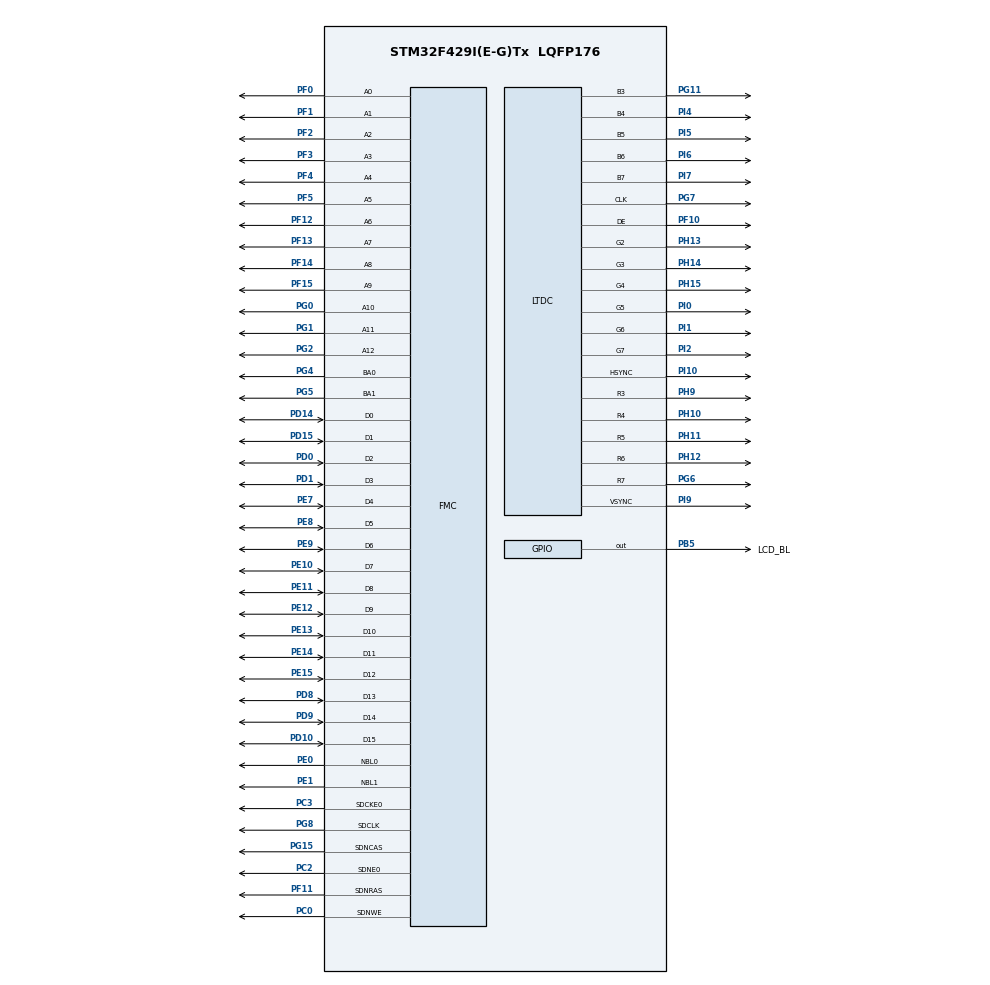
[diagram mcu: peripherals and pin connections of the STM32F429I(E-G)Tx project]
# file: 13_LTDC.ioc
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DMA2D.AlphaModeForeground=DMA2D_NO_MODIF_ALPHA
DMA2D.ColorMode=DMA2D_OUTPUT_RGB565
DMA2D.InputAlphaForeground=0
DMA2D.Mode=DMA2D_M2M
DMA2D.OutputOffset=0
FMC.CASLatency1=FMC_SDRAM_CAS_LATENCY_3
FMC.ColumnBitsNumber1=FMC_SDRAM_COLUMN_BITS_NUM_9
FMC.ExitSelfRefreshDelay1=8
FMC.LoadToActiveDelay1=2
FMC.RCDDelay1=2
FMC.RPDelay1=2
FMC.ReadBurst1=FMC_SDRAM_RBURST_ENABLE
FMC.ReadPipeDelay1=FMC_SDRAM_RPIPE_DELAY_1
FMC.RowCycleDelay1=6
FMC.SDClockPeriod1=FMC_SDRAM_CLOCK_PERIOD_2
FMC.SelfRefreshTime1=6
FMC.WriteProtection1=FMC_SDRAM_WRITE_PROTECTION_DISABLE
FMC.WriteRecoveryTime1=4
LTDC.ActiveH=600
LTDC.ActiveW=1024
LTDC.Alpha_L0=255
LTDC.FBStartAdress_L0=0xc0000000
LTDC.FBStartAdress_L1=0xc4000000
LTDC.HBP=140
LTDC.HFP=160
LTDC.HSync=20
LTDC.ImageHeight_L0=240
LTDC.ImageHeight_L1=240
LTDC.ImageWidth_L0=320
LTDC.ImageWidth_L1=320
LTDC.Layers=1
LTDC.PixelFormat_L0=LTDC_PIXEL_FORMAT_RGB565
LTDC.PixelFormat_L1=LTDC_PIXEL_FORMAT_RGB565
LTDC.VBP=20
LTDC.VFP=12
LTDC.VSync=3
LTDC.WindowX0_L1=703
LTDC.WindowX1_L0=320
LTDC.WindowX1_L1=1023
LTDC.WindowY0_L1=359
LTDC.WindowY1_L0=240
LTDC.WindowY1_L1=599
Mcu.Family=STM32F4
Mcu.Name=STM32F429I(E-G)Tx
Mcu.Package=LQFP176
NVIC.DMA2D_IRQn=true\:0\:0\:false\:false\:true\:true\:true
NVIC.PriorityGroup=NVIC_PRIORITYGROUP_4
PA13.Mode=Trace_Asynchronous_SW
PA13.Signal=SYS_JTMS-SWDIO
PA14.Mode=Trace_Asynchronous_SW
PA14.Signal=SYS_JTCK-SWCLK
PB3.Mode=Trace_Asynchronous_SW
PB3.Signal=SYS_JTDO-SWO
PB5.GPIO_Label=LCD_BL
PB5.Signal=GPIO_Output
PC0.GPIO_PuPd=GPIO_PULLUP
PC0.Signal=FMC_SDNWE
PC14/OSC32_IN.Mode=LSE-External-Oscillator
PC14/OSC32_IN.Signal=RCC_OSC32_IN
PC15/OSC32_OUT.Mode=LSE-External-Oscillator
PC15/OSC32_OUT.Signal=RCC_OSC32_OUT
PC2.GPIO_PuPd=GPIO_PULLUP
PC2.Mode=SdramChipSelect1_1
PC2.Signal=FMC_SDNE0
PC3.GPIO_PuPd=GPIO_PULLUP
PC3.Mode=SdramChipSelect1_1
PC3.Signal=FMC_SDCKE0
PD0.GPIO_PuPd=GPIO_PULLUP
PD0.Signal=FMC_D2_DA2
PD1.GPIO_PuPd=GPIO_PULLUP
PD1.Signal=FMC_D3_DA3
PD10.GPIO_PuPd=GPIO_PULLUP
PD10.Signal=FMC_D15_DA15
PD14.GPIO_PuPd=GPIO_PULLUP
PD14.Signal=FMC_D0_DA0
PD15.GPIO_PuPd=GPIO_PULLUP
PD15.Signal=FMC_D1_DA1
PD8.GPIO_PuPd=GPIO_PULLUP
PD8.Signal=FMC_D13_DA13
PD9.GPIO_PuPd=GPIO_PULLUP
PD9.Signal=FMC_D14_DA14
PE0.GPIO_PuPd=GPIO_PULLUP
PE0.Signal=FMC_NBL0
PE1.GPIO_PuPd=GPIO_PULLUP
PE1.Signal=FMC_NBL1
PE10.GPIO_PuPd=GPIO_PULLUP
PE10.Signal=FMC_D7_DA7
PE11.GPIO_PuPd=GPIO_PULLUP
PE11.Signal=FMC_D8_DA8
PE12.GPIO_PuPd=GPIO_PULLUP
PE12.Signal=FMC_D9_DA9
PE13.GPIO_PuPd=GPIO_PULLUP
PE13.Signal=FMC_D10_DA10
PE14.GPIO_PuPd=GPIO_PULLUP
PE14.Signal=FMC_D11_DA11
PE15.GPIO_PuPd=GPIO_PULLUP
PE15.Signal=FMC_D12_DA12
PE7.GPIO_PuPd=GPIO_PULLUP
PE7.Signal=FMC_D4_DA4
PE8.GPIO_PuPd=GPIO_PULLUP
PE8.Signal=FMC_D5_DA5
PE9.GPIO_PuPd=GPIO_PULLUP
PE9.Signal=FMC_D6_DA6
PF0.GPIO_PuPd=GPIO_PULLUP
PF0.Signal=FMC_A0
PF1.GPIO_PuPd=GPIO_PULLUP
PF1.Signal=FMC_A1
PF10.GPIO_Speed=GPIO_SPEED_FREQ_VERY_HIGH
PF10.Mode=RGB565
PF10.Signal=LTDC_DE
PF11.GPIO_PuPd=GPIO_PULLUP
PF11.Signal=FMC_SDNRAS
PF12.GPIO_PuPd=GPIO_PULLUP
PF12.Signal=FMC_A6
PF13.GPIO_PuPd=GPIO_PULLUP
PF13.Signal=FMC_A7
PF14.GPIO_PuPd=GPIO_PULLUP
PF14.Signal=FMC_A8
PF15.GPIO_PuPd=GPIO_PULLUP
PF15.Signal=FMC_A9
PF2.GPIO_PuPd=GPIO_PULLUP
PF2.Signal=FMC_A2
PF3.GPIO_PuPd=GPIO_PULLUP
PF3.Signal=FMC_A3
PF4.GPIO_PuPd=GPIO_PULLUP
PF4.Signal=FMC_A4
PF5.GPIO_PuPd=GPIO_PULLUP
PF5.Signal=FMC_A5
PG0.GPIO_PuPd=GPIO_PULLUP
PG0.Signal=FMC_A10
PG1.GPIO_PuPd=GPIO_PULLUP
PG1.Signal=FMC_A11
PG11.GPIO_Speed=GPIO_SPEED_FREQ_VERY_HIGH
PG11.Mode=RGB565
PG11.Signal=LTDC_B3
PG15.GPIO_PuPd=GPIO_PULLUP
PG15.Signal=FMC_SDNCAS
PG2.GPIO_PuPd=GPIO_PULLUP
PG2.Signal=FMC_A12
PG4.GPIO_PuPd=GPIO_PULLUP
PG4.Signal=FMC_A14_BA0
PG5.GPIO_PuPd=GPIO_PULLUP
PG5.Signal=FMC_A15_BA1
PG6.GPIO_Speed=GPIO_SPEED_FREQ_VERY_HIGH
PG6.Mode=RGB565
PG6.Signal=LTDC_R7
PG7.GPIO_Speed=GPIO_SPEED_FREQ_VERY_HIGH
PG7.Mode=RGB565
PG7.Signal=LTDC_CLK
PG8.GPIO_PuPd=GPIO_PULLUP
PG8.Signal=FMC_SDCLK
PH0/OSC_IN.Mode=HSE-External-Oscillator
PH0/OSC_IN.Signal=RCC_OSC_IN
PH1/OSC_OUT.Mode=HSE-External-Oscillator
PH1/OSC_OUT.Signal=RCC_OSC_OUT
PH10.GPIO_Speed=GPIO_SPEED_FREQ_VERY_HIGH
PH10.Mode=RGB565
PH10.Signal=LTDC_R4
PH11.GPIO_Speed=GPIO_SPEED_FREQ_VERY_HIGH
PH11.Mode=RGB565
PH11.Signal=LTDC_R5
PH12.GPIO_Speed=GPIO_SPEED_FREQ_VERY_HIGH
PH12.Mode=RGB565
PH12.Signal=LTDC_R6
PH13.GPIO_Speed=GPIO_SPEED_FREQ_VERY_HIGH
PH13.Mode=RGB565
PH13.Signal=LTDC_G2
PH14.GPIO_Speed=GPIO_SPEED_FREQ_VERY_HIGH
PH14.Mode=RGB565
PH14.Signal=LTDC_G3
PH15.GPIO_Speed=GPIO_SPEED_FREQ_VERY_HIGH
PH15.Mode=RGB565
PH15.Signal=LTDC_G4
PH9.GPIO_Speed=GPIO_SPEED_FREQ_VERY_HIGH
PH9.Mode=RGB565
PH9.Signal=LTDC_R3
PI0.GPIO_Speed=GPIO_SPEED_FREQ_VERY_HIGH
PI0.Mode=RGB565
PI0.Signal=LTDC_G5
PI1.GPIO_Speed=GPIO_SPEED_FREQ_VERY_HIGH
PI1.Mode=RGB565
PI1.Signal=LTDC_G6
PI10.GPIO_Speed=GPIO_SPEED_FREQ_VERY_HIGH
PI10.Mode=RGB565
PI10.Signal=LTDC_HSYNC
PI2.GPIO_Speed=GPIO_SPEED_FREQ_VERY_HIGH
PI2.Mode=RGB565
PI2.Signal=LTDC_G7
PI4.GPIO_Speed=GPIO_SPEED_FREQ_VERY_HIGH
PI4.Mode=RGB565
PI4.Signal=LTDC_B4
PI5.GPIO_Speed=GPIO_SPEED_FREQ_VERY_HIGH
PI5.Mode=RGB565
PI5.Signal=LTDC_B5
PI6.GPIO_Speed=GPIO_SPEED_FREQ_VERY_HIGH
PI6.Mode=RGB565
PI6.Signal=LTDC_B6
PI7.GPIO_Speed=GPIO_SPEED_FREQ_VERY_HIGH
PI7.Mode=RGB565
PI7.Signal=LTDC_B7
PI9.GPIO_Speed=GPIO_SPEED_FREQ_VERY_HIGH
PI9.Mode=RGB565
PI9.Signal=LTDC_VSYNC
ProjectManager.HeapSize=0x200
ProjectManager.StackSize=0x400
ProjectManager.TargetToolchain=STM32CubeIDE
RCC.48MHZClocksFreq_Value=90000000
RCC.AHBFreq_Value=180000000
RCC.APB1CLKDivider=RCC_HCLK_DIV4
RCC.APB1Freq_Value=45000000
RCC.APB1TimFreq_Value=90000000
RCC.APB2CLKDivider=RCC_HCLK_DIV2
RCC.APB2Freq_Value=90000000
RCC.APB2TimFreq_Value=180000000
RCC.CortexFreq_Value=180000000
RCC.HCLKFreq_Value=180000000
RCC.HSE_VALUE=25000000
RCC.HSI_VALUE=16000000
RCC.PLLM=15
RCC.PLLN=216
RCC.PLLSAIN=198
RCC.PLLSAIR=5
RCC.PLLSourceVirtual=RCC_PLLSOURCE_HSE
RCC.SYSCLKFreq_VALUE=180000000
RCC.SYSCLKSource=RCC_SYSCLKSOURCE_PLLCLK
RCC.VCOOutputFreq_Value=360000000
SH.FMC_A0.0=FMC_A0,13b-sda1
SH.FMC_A1.0=FMC_A1,13b-sda1
SH.FMC_A10.0=FMC_A10,13b-sda1
SH.FMC_A11.0=FMC_A11,13b-sda1
SH.FMC_A12.0=FMC_A12,13b-sda1
SH.FMC_A14_BA0.0=FMC_BA0,FourSdramBanks1
SH.FMC_A15_BA1.0=FMC_BA1,FourSdramBanks1
SH.FMC_A2.0=FMC_A2,13b-sda1
SH.FMC_A3.0=FMC_A3,13b-sda1
SH.FMC_A4.0=FMC_A4,13b-sda1
SH.FMC_A5.0=FMC_A5,13b-sda1
SH.FMC_A6.0=FMC_A6,13b-sda1
SH.FMC_A7.0=FMC_A7,13b-sda1
SH.FMC_A8.0=FMC_A8,13b-sda1
SH.FMC_A9.0=FMC_A9,13b-sda1
SH.FMC_D0_DA0.0=FMC_D0,sd-16b-d1
SH.FMC_D10_DA10.0=FMC_D10,sd-16b-d1
SH.FMC_D11_DA11.0=FMC_D11,sd-16b-d1
SH.FMC_D12_DA12.0=FMC_D12,sd-16b-d1
SH.FMC_D13_DA13.0=FMC_D13,sd-16b-d1
SH.FMC_D14_DA14.0=FMC_D14,sd-16b-d1
SH.FMC_D15_DA15.0=FMC_D15,sd-16b-d1
SH.FMC_D1_DA1.0=FMC_D1,sd-16b-d1
SH.FMC_D2_DA2.0=FMC_D2,sd-16b-d1
SH.FMC_D3_DA3.0=FMC_D3,sd-16b-d1
SH.FMC_D4_DA4.0=FMC_D4,sd-16b-d1
SH.FMC_D5_DA5.0=FMC_D5,sd-16b-d1
SH.FMC_D6_DA6.0=FMC_D6,sd-16b-d1
SH.FMC_D7_DA7.0=FMC_D7,sd-16b-d1
SH.FMC_D8_DA8.0=FMC_D8,sd-16b-d1
SH.FMC_D9_DA9.0=FMC_D9,sd-16b-d1
SH.FMC_NBL0.0=FMC_NBL0,Sd2ByteEnable1
SH.FMC_NBL1.0=FMC_NBL1,Sd2ByteEnable1
SH.FMC_SDCLK.0=FMC_SDCLK,13b-sda1
SH.FMC_SDNCAS.0=FMC_SDNCAS,13b-sda1
SH.FMC_SDNRAS.0=FMC_SDNRAS,13b-sda1
SH.FMC_SDNWE.0=FMC_SDNWE,13b-sda1
VP_DMA2D_VS_DMA2D.Mode=DMA2D_Activate
board=custom

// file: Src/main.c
/* USER CODE BEGIN Header */
/**
 ******************************************************************************
 * @file           : main.c
 * @brief          : Main program body
 ******************************************************************************
 * @attention
 *
 * <h2><center>&copy; Copyright (c) 2019 STMicroelectronics.
 * All rights reserved.</center></h2>
 *
 * This software component is licensed by ST under BSD 3-Clause license,
 * the "License"; You may not use this file except in compliance with the
 * License. You may obtain a copy of the License at:
 *                        opensource.org/licenses/BSD-3-Clause
 *
 ******************************************************************************
 */
/* USER CODE END Header */

#include "main.h"
#include "dma2d.h"
#include "ltdc.h"
#include "gpio.h"
#include "fmc.h"

/* USER CODE BEGIN Includes */
#include <stdio.h>
//#include "RGB565_240x130_1.h"
#include "L8_320X240.h"
#include "RGB565_320x240.h"
/* USER CODE END Includes */

/* USER CODE BEGIN PD */

#define SDRAM_BANK_ADDR     ((uint32_t)0XC0000000)

/* USER CODE END PD */

/* USER CODE BEGIN PV */
extern LTDC_HandleTypeDef hltdc;

uint8_t complate = 0;
//uint32_t aMemory[262144] __attribute__((section(".ExtRAMData")));
//uint32_t aMemory0[1200 * 800] __attribute__((section(".ExtRAMData"))); // 1024 * 1024 /4    //1MB / 4
//uint32_t aMemory1[1200 * 800] __attribute__((section(".ExtRAMData"))); // 1024 * 1024 /4    //1MB / 4

uint32_t aBlendedImage[(LAYER_SIZE_X * LAYER_SIZE_Y * LAYER_BYTE_PER_PIXEL) / 4];

volatile uint8_t ReloadFlag = 0;

//uint32_t aMemory1[262144] __attribute__((section(".ExtRAMData1"))); // 1024 * 1024 /4    //1MB / 4

/*
 #if (defined ( __CC_ARM ))
 U32 aMemory[GUI_NUMBYTES / 4] __attribute__((at(MEM_BASE)));
 #elif (defined (__ICCARM__))
 #pragma location = MEM_BASE
 __no_init U32 aMemory[GUI_NUMBYTES / 4];
 #elif defined ( __GNUC__ )
 U32 aMemory[GUI_NUMBYTES / 4] __attribute__((section(".ExtRAMData1")));
 #endif

 __CC_ARM 	-->  U32 aMemory[GUI_NUMBYTES / 4] __attribute__((at(MEM_BASE)));
 __ICCARM__ 	-->  _no_init U32 aMemory[GUI_NUMBYTES / 4];
 __GNUC__ 	-->  aMemory[GUI_NUMBYTES / 4] __attribute__((section(".ExtRAMData1")));

 */

/* USER CODE END PV */

void SystemClock_Config (void);

int main (void)
{

    /* MCU Configuration--------------------------------------------------------*/

    /* Reset of all peripherals, Initializes the Flash interface and the Systick. */
    HAL_Init ();

    /* Configure the system clock */
    SystemClock_Config ();

    /* Initialize all configured peripherals */
    MX_GPIO_Init ();
    MX_FMC_Init ();
    MX_LTDC_Init ();
    MX_DMA2D_Init ();
    /* USER CODE BEGIN 2 */
    SDRAM_Init ();
    //LCD_Init ();

    //u32 addr = &aMemory0[0];
    u32 timeout = 0;
    uint16_t index = 0;
    /*##-2- CLUT Configuration #################################################*/
    HAL_LTDC_ConfigCLUT (&hltdc, (uint32_t*) L8_320x240_CLUT, 256, 0);

    /*##-3- Enable CLUT For Layer 1 ############################################*/
    HAL_LTDC_EnableCLUT (&hltdc, 0);

    /*##-4- Configure line event ###############################################*/
    HAL_LTDC_ProgramLineEvent (&hltdc, 0);
    while (1)
    {
	for (index = 0; index < 350; index++)
	{
	    HAL_LTDC_SetWindowPosition_NoReload (&hltdc, index * 2, index, 0);
	    HAL_LTDC_SetWindowPosition_NoReload (&hltdc, 700 - index * 2, 350 - index, 1);

	    HAL_LTDC_Reload (&hltdc, LTDC_RELOAD_VERTICAL_BLANKING);

	    HAL_Delay(2);
	}
	HAL_Delay (500);
	for (index = 0; index < 350; index++)
	{
	    HAL_LTDC_SetWindowPosition_NoReload (&hltdc, index * 2, index, 1);
	    HAL_LTDC_SetWindowPosition_NoReload (&hltdc, 700 - index * 2, 350 - index, 0);

	    HAL_LTDC_Reload (&hltdc, LTDC_RELOAD_VERTICAL_BLANKING);
	    HAL_Delay(2);
	}
	HAL_Delay (500);
    }

    //HAL_DMA2D_Start (&hdma2d, (uint32_t) &RGB565_240x130_1, (uint32_t) &aMemory0, 240, 130);
    while (1);

//  __HAL_RCC_DMA2D_CLK_ENABLE();	//使能DM2D时钟
//  DMA2D->CR &= ~(DMA2D_CR_START);	//先停止DMA2D
//  DMA2D->CR = DMA2D_R2M;			//寄存器到存储器模�?????????
//  DMA2D->OPFCCR = 0X02;	//设置颜色格式
//  DMA2D->OOR = 2;				//设置行偏�?????????
//
//  DMA2D->OMAR = addr;				//输出存储器地�?????????
//  DMA2D->NLR = (1023 + 1) | ((599 + 1) << 16);	//设定行数寄存�?????????
//  DMA2D->OCOLR = BLUE;						//设定输出颜色寄存�?????????
//  DMA2D->CR |= DMA2D_CR_START;				//启动DMA2D
//  while ((DMA2D->ISR & (DMA2D_FLAG_TC)) == 0)	//等待传输完成
//  {
//	timeout++;
//	if (timeout > 0X1FFFFF)
//	    break;	//超时�?????????�?????????
//  }

//HAL_DMA2D_Start (&hdma2d, (uint32_t) BLUE, (uint32_t)&aMemory0, 1024, 600);

    /* USER CODE END 2 */

    /* Infinite loop */
    /* USER CODE BEGIN WHILE */
    while (1)
    {
	printf ("Start %d \r\n", HAL_GetTick ());
	HAL_DMA2D_Start_IT (&hdma2d, 0x43CD80, 0xc0000000, 1024, 600);
	complate = 0;
	while (!complate)
	{
	}
	printf ("finish %d \r\n", HAL_GetTick ());
	HAL_Delay (500);

	HAL_DMA2D_Start_IT (&hdma2d, 0xFF69B4, 0xc0000000, 1024, 600);
	complate = 0;
	while (!complate)
	{
	}
	HAL_Delay (500);
	HAL_DMA2D_Start_IT (&hdma2d, 0xC0FF3E, 0xc0000000, 1024, 600);
	complate = 0;
	while (!complate)
	{
	}
	HAL_Delay (500);
	HAL_DMA2D_Start_IT (&hdma2d, 0x9B30FF, 0xc0000000, 1024, 600);
	complate = 0;
	while (!complate)
	{
	}

	HAL_Delay (500);

//	DMA2D->OMAR = addr;
//	DMA2D->NLR = (1023 + 1) | ((599 + 1) << 16);
//	DMA2D->OCOLR = YELLOW;
//	DMA2D->CR |= DMA2D_CR_START;
//	while ((DMA2D->ISR & (DMA2D_FLAG_TC)) == 0)
//	{
//
//	}
//	HAL_Delay (500);
//	DMA2D->OCOLR = BLUE;						//设定输出颜色寄存�?????????
//	DMA2D->CR |= DMA2D_CR_START;				//启动DMA2D
//	while ((DMA2D->ISR & (DMA2D_FLAG_TC)) == 0)	//等待传输完成
//	{
//
//	}
//	HAL_Delay (500);

	/* USER CODE END WHILE */

    }
}

void SystemClock_Config (void)
{
    RCC_OscInitTypeDef RCC_OscInitStruct =
	{ 0 };
    RCC_ClkInitTypeDef RCC_ClkInitStruct =
	{ 0 };
    RCC_PeriphCLKInitTypeDef PeriphClkInitStruct =
	{ 0 };

    /** Configure the main internal regulator output voltage
     */
    __HAL_RCC_PWR_CLK_ENABLE();
    __HAL_PWR_VOLTAGESCALING_CONFIG(PWR_REGULATOR_VOLTAGE_SCALE1);
    /** Initializes the CPU, AHB and APB busses clocks
     */
    RCC_OscInitStruct.OscillatorType = RCC_OSCILLATORTYPE_HSE;
    RCC_OscInitStruct.HSEState = RCC_HSE_ON;
    RCC_OscInitStruct.PLL.PLLState = RCC_PLL_ON;
    RCC_OscInitStruct.PLL.PLLSource = RCC_PLLSOURCE_HSE;
    RCC_OscInitStruct.PLL.PLLM = 15;
    RCC_OscInitStruct.PLL.PLLN = 216;
    RCC_OscInitStruct.PLL.PLLP = RCC_PLLP_DIV2;
    RCC_OscInitStruct.PLL.PLLQ = 4;
    if (HAL_RCC_OscConfig (&RCC_OscInitStruct) != HAL_OK)
    {
	Error_Handler ();
    }
    /** Activate the Over-Drive mode
     */
    if (HAL_PWREx_EnableOverDrive () != HAL_OK)
    {
	Error_Handler ();
    }
    /** Initializes the CPU, AHB and APB busses clocks
     */
    RCC_ClkInitStruct.ClockType = RCC_CLOCKTYPE_HCLK | RCC_CLOCKTYPE_SYSCLK | RCC_CLOCKTYPE_PCLK1 | RCC_CLOCKTYPE_PCLK2;
    RCC_ClkInitStruct.SYSCLKSource = RCC_SYSCLKSOURCE_PLLCLK;
    RCC_ClkInitStruct.AHBCLKDivider = RCC_SYSCLK_DIV1;
    RCC_ClkInitStruct.APB1CLKDivider = RCC_HCLK_DIV4;
    RCC_ClkInitStruct.APB2CLKDivider = RCC_HCLK_DIV2;

    if (HAL_RCC_ClockConfig (&RCC_ClkInitStruct, FLASH_LATENCY_5) != HAL_OK)
    {
	Error_Handler ();
    }
    PeriphClkInitStruct.PeriphClockSelection = RCC_PERIPHCLK_LTDC;
    PeriphClkInitStruct.PLLSAI.PLLSAIN = 198;
    PeriphClkInitStruct.PLLSAI.PLLSAIR = 5;
    PeriphClkInitStruct.PLLSAIDivR = RCC_PLLSAIDIVR_2;
    if (HAL_RCCEx_PeriphCLKConfig (&PeriphClkInitStruct) != HAL_OK)
    {
	Error_Handler ();
    }
}

/* USER CODE BEGIN 4 */
int _write (int file,char*ptr,int len)
{
    int DataIdx;
    for (DataIdx = 0; DataIdx < len; DataIdx++)
    {
	ITM_SendChar (*ptr++);
    }
    return len;
}

void HAL_LTDC_ReloadEventCallback (LTDC_HandleTypeDef*hltdc)
{
    ReloadFlag = 1;
}
/* USER CODE END 4 */

void Error_Handler (void)
{
}

/************************ (C) COPYRIGHT STMicroelectronics *****END OF FILE****/
